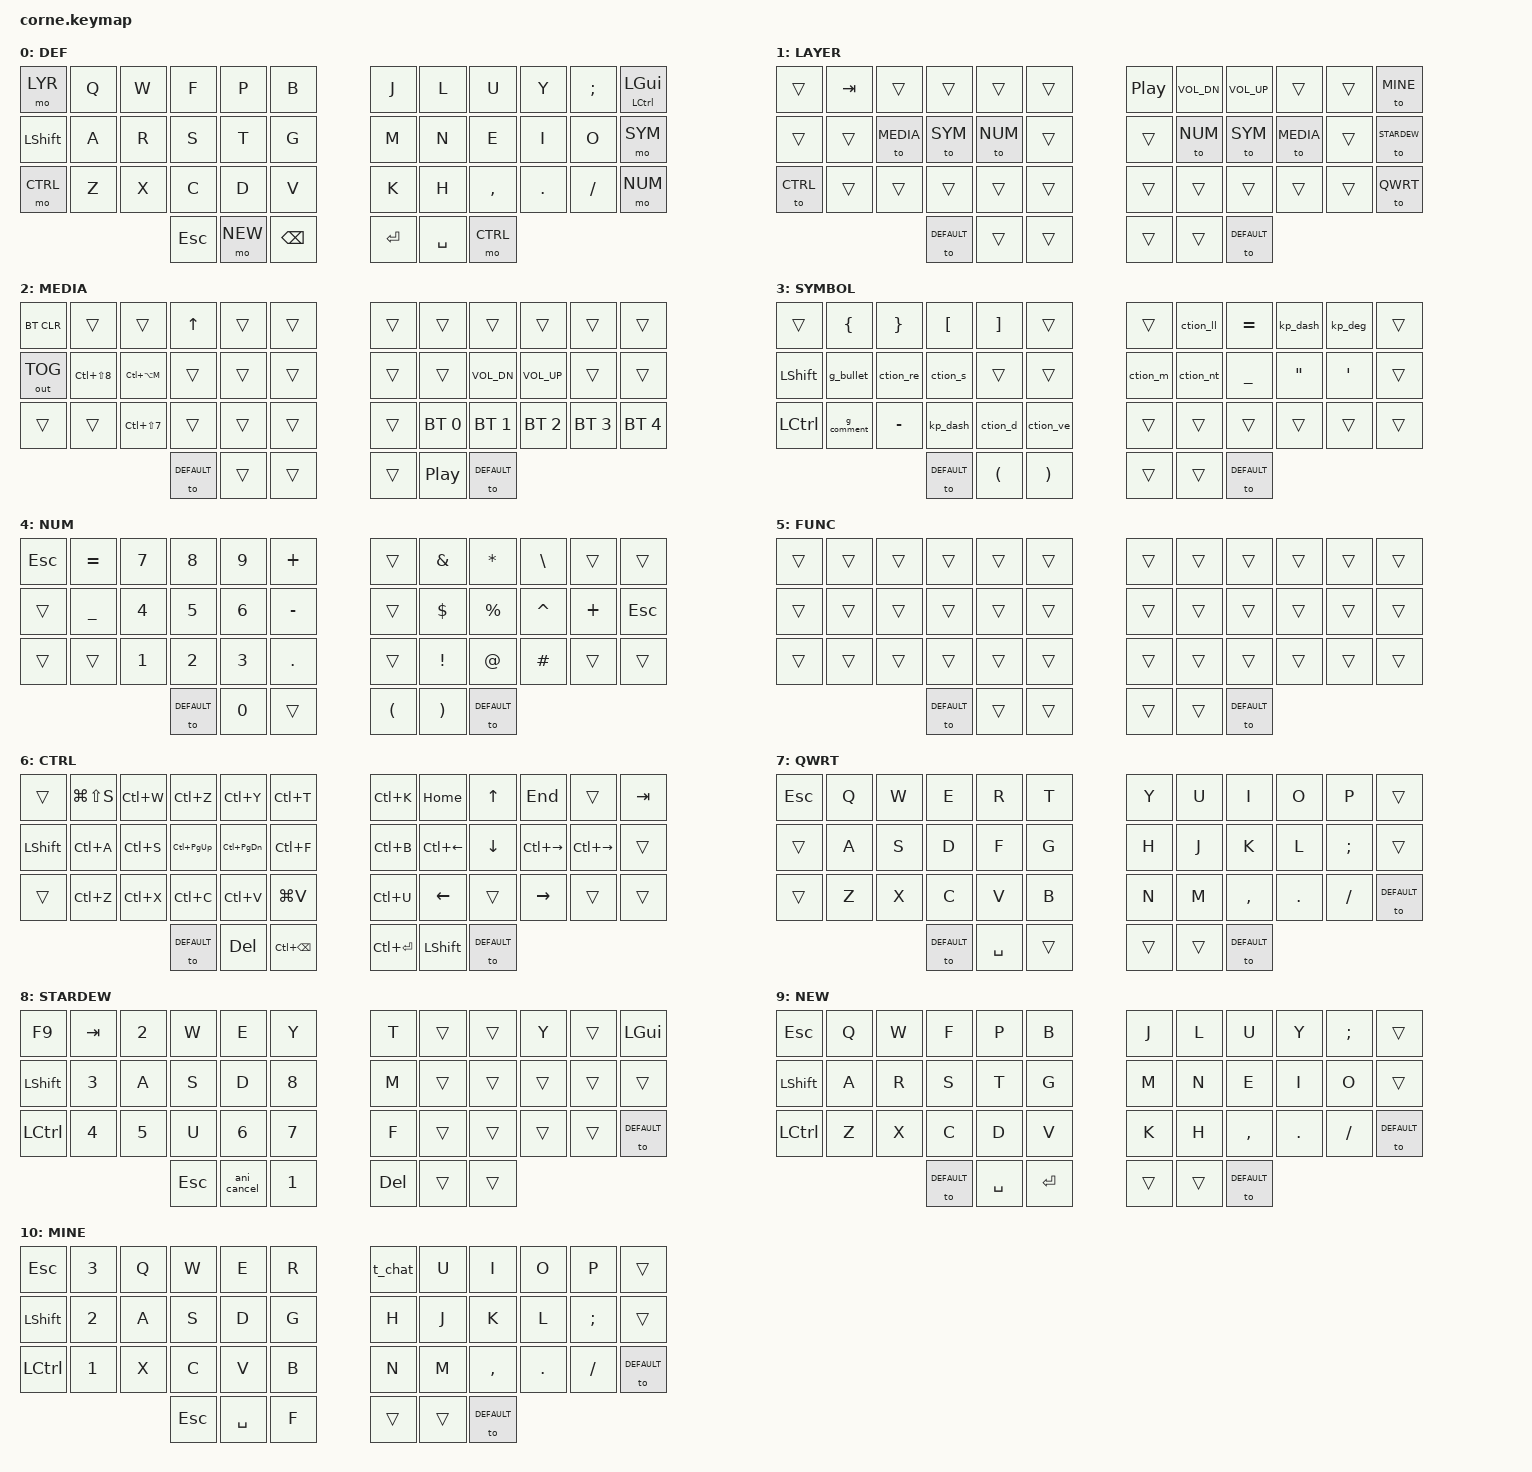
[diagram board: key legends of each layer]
/*
 * Copyright (c) 2020 The ZMK Contributors
 *
 * SPDX-License-Identifier: MIT
 */

#include <behaviors.dtsi>
#include <dt-bindings/zmk/keys.h>
#include <dt-bindings/zmk/bt.h>
#include <dt-bindings/zmk/outputs.h>

#define DEFAULT 0
#define LYR   1
#define MEDIA   2
#define SYM     3
#define NUM     4
#define FUNC    5
#define CTRL    6
#define QWRT   7
#define STARDEW 8
#define NEW 9
#define MINE 10



/ {
//    macros {
        kp_dash: kp_dash {
            label = "kp_dash";
            compatible = "zmk,behavior-macro";
            #binding-cells = <0>;
            bindings
                = <&macro_press &kp LALT>
                , <&macro_tap &kp KP_N0 &kp KP_N1 &kp KP_N5 &kp KP_N1>
                , <&macro_release &kp LALT>
                ;
        };
        kp_deg: kp_deg {
            label = "kp_deg";
            compatible = "zmk,behavior-macro";
            #binding-cells = <0>;
            bindings
                = <&macro_press &kp LALT>
                , <&macro_tap &kp KP_N0 &kp KP_N1 &kp KP_N7 &kp KP_N6>
                , <&macro_release &kp LALT>
                ;
        };
        altTab: altTab {
            label = "altTab";
            compatible = "zmk,behavior-macro";
            #binding-cells = <0>;
            bindings
                = <&macro_press &kp LALT>
                , <&macro_tap &kp TAB>
                , <&macro_release &kp LALT>
                ;
        };
        ani_cancel: ani_cancel {
            label = "ani_cancel";
            compatible = "zmk,behavior-macro";
            #binding-cells = <0>;
            bindings
                = <&macro_press &kp DEL &kp RSHFT>
                , <&macro_tap &kp R>
                , <&macro_release &kp DEL &kp RSHFT>
                ;
        };
        t_chat: t_chat {
            label = "t_chat";
            compatible = "zmk,behavior-macro";
            #binding-cells = <0>;
            bindings
                = <&macro_tap &to DEFAULT &kp T>
                ;
        };
        g_comment: g_comment {
            label = "g_comment";
            compatible = "zmk,behavior-macro";
            #binding-cells = <0>;
            bindings
                = <&macro_press &kp LCTRL &kp LALT>
                , <&macro_tap &kp M>
                , <&macro_release &kp LCTRL &kp LALT>
                ;
        };
        g_bullet: g_bullet {
            label = "g_bullet";
            compatible = "zmk,behavior-macro";
            #binding-cells = <0>;
            bindings
                = <&macro_press &kp LCTRL &kp LSHIFT>
                , <&macro_tap &kp N8>
                , <&macro_release &kp LCTRL &kp LSHIFT>
                ;
        };
        ction_ve: ction_ve {
            label = "ction_ve";
            compatible = "zmk,behavior-macro";
            #binding-cells = <0>;
            bindings
                = <&macro_tap &kp APOSTROPHE &kp V &kp E>
                ;
        };
        ction_nt: ction_nt {
            label = "ction_nt";
            compatible = "zmk,behavior-macro";
            #binding-cells = <0>;
            bindings
                = <&macro_tap &kp N &kp APOSTROPHE &kp T>
                ;
        };
        ction_ll: ction_ll {
            label = "ction_ll";
            compatible = "zmk,behavior-macro";
            #binding-cells = <0>;
            bindings
                = <&macro_tap &kp APOSTROPHE &kp L &kp L>
                ;
        };
        ction_s: ction_s {
            label = "ction_s";
            compatible = "zmk,behavior-macro";
            #binding-cells = <0>;
            bindings
                = <&macro_tap &kp APOSTROPHE &kp S>
                ;
        };
        ction_d: ction_d {
            label = "ction_d";
            compatible = "zmk,behavior-macro";
            #binding-cells = <0>;
            bindings
                = <&macro_tap &kp APOSTROPHE &kp D>
                ;
        };
        ction_m: ction_m {
            label = "ction_m";
            compatible = "zmk,behavior-macro";
            #binding-cells = <0>;
            bindings
                = <&macro_tap &kp APOSTROPHE &kp M>
                ;
        };
        ction_re: ction_re {
            label = "ction_re";
            compatible = "zmk,behavior-macro";
            #binding-cells = <0>;
            bindings
                = <&macro_tap &kp APOSTROPHE &kp R &kp E>
                ;
        };
//    };
//    combos {

//    };

// | 0 |  1  |  2  |  3  |  4  |  5  |   |  6  |  7   |  8  |  9 |  10  | 11 |
// | 12|  13 |  14  |  15  |  16  |  17  |   |  18  |  19   |  20  |  21  |  22  |  23   |
// | 24|  25  |  26  |  27  |  28  |  29  |   |  30  |  31   |  32  |  33  |  34  | 35
//  |36|37|38|   | 39 | 40 | 41 |

    behaviors {
        tdCTRLTAB: Control_Tab {
            compatible = "zmk,behavior-tap-dance";
            label = "Control_Tab";
            #binding-cells = <0>;
            tapping-term-ms = <200>;
            bindings = <&kp LCTRL>, <&kp LA(TAB)>;
        };
        tdCLMK_TAB: Colemak_Tab{
            compatible = "zmk,behavior-tap-dance";
            label = "Colemak_Tab";
            #binding-cells = <0>;
            tapping-term-ms = <200>;
            bindings = <&kp LA(TAB)>, <&to QWRT>;
        };
//        td_mytd: tap_dance_my {
//        compatible = "zmk,behavior-tap-dance";
//          label = "TAP_DANCE_MY;
//          #binding-cells = <0>;
//          tapping-term-ms = <200>;
//          bindings =
//          <&mt LSHFT SPACE>,
//          <&mo 2>;
//      };
    };

    keymap {
            compatible = "zmk,keymap";

            default_layer {
label = "DEF";
// -----------------------------------------------------------------------------------------
// | TAB  |  Q  |  W  |  E  |  R  |  T  |   |  Y  |  U   |  I  |  O  |  P  | LGUI |
// | SHFT |  A  |  S  |  D  |  F  |  G  |   |  H  |  J   |  K  |  L  |  ;  |  SYM   |
// | CRTL |  Z  |  X  |  C  |  V  |  B  |   |  N  |  M   |  ,  |  .  |  /  | NUM  |
//  |to Layer|Space|BSCP|   | ENTER | SPACE | to Layer |
                        bindings = <
   &mo LYR &kp Q &kp W &kp F &kp P &kp B   &kp J &kp L &kp U &kp Y &kp SEMI &mt LCTRL LGUI
   &kp LSHIFT &kp A &kp R &kp S &kp T &kp G   &kp M &kp N &kp E &kp I &kp O &mo SYM
   &mo CTRL &kp Z &kp X &kp C &kp D &kp V   &kp K &kp H &kp COMMA &kp DOT &kp FSLH &mo NUM
      &kp ESC &mo NEW &kp BSPC   &kp RET &kp SPACE &mo CTRL
                        >;
                };
                layer_layer {
label = "LAYER";
// -----------------------------------------------------------------------------------------
// |     |     |     |     |Ctrl/Shift/Alt keyboard|     |||||     |     |     |     |     |     |
// |     |     |     | SYM | NUM |     |||||     |     |     |     |     |     |
// |     |     |     |     |     |     |||||     |     |     |     |     |CLMK|
//                   |     |     |     |||||     |     |     |
                        bindings = <
 &trans &kp TAB &trans &trans &trans &trans   &kp C_PP &kp C_VOL_DN &kp C_VOL_UP &trans &trans &to MINE
 &trans &trans &to MEDIA &to SYM &to NUM &trans   &trans &to NUM &to SYM &to MEDIA &trans &to STARDEW
 &to CTRL &trans &trans &trans &trans &trans   &trans &trans &trans &trans &trans &to QWRT
                      &to DEFAULT &trans &trans   &trans &trans &to DEFAULT
                        >;
                };

            media_layer {
label = "MEDIA";
// -----------------------------------------------------------------------------------------
// |Clear|     |     |     |     |     |||||     |     |     |     |     |     |
// |Toggle|     |Comment|     |     |     |||||     | Play/Pause | VOL_DN | VOL_UP |Mute|     |
// |     |     |     |     |     |     |||||     | BT1 | BT2 | BT3 | BT4 | BT5 |
//                   |     |     |     |||||     | Play/Pause |     |
                        bindings = <
 &bt BT_CLR &trans &trans &kp UP &trans &trans   &trans &trans &trans &trans &trans &trans
 &out OUT_TOG  &kp LC(LS(8)) &kp LC(LA(M)) &trans &trans &trans   &trans &trans &kp C_VOL_DN &kp C_VOL_UP &trans  &trans
 &trans &trans &kp LC(LS(7)) &trans &trans &trans   &trans &bt BT_SEL 0 &bt BT_SEL 1 &bt BT_SEL 2 &bt BT_SEL 3 &bt BT_SEL 4
                      &to DEFAULT &trans &trans   &trans &kp C_PP &to DEFAULT
                        >;
                };



                sym_layer {
label = "SYMBOL";
// -----------------------------------------------------------------------------------------
// |     |     |     |  {  |  }  |     |||||     |     |     |     |     |     |
// |     |     |  `  |  [  |  ]  |  _  |||||     |     |     |     | ' |     |
// |     |     |     |  -  |  —  |     |||||     |     |     |     |     |     |
//                   |     |  (  |  )  |||||     |     |     |
                        bindings = <
 &trans &kp LBRC &kp RBRC &kp LBKT &kp RBKT &trans          &trans &ction_ll &kp EQUAL &kp_dash &kp_deg &trans
 &kp LSHIFT &g_bullet &ction_re &ction_s &trans &trans   &ction_m &ction_nt  &kp UNDER &kp DQT &kp APOS &trans
 &kp LCTRL  &g_comment &kp MINUS &kp_dash &ction_d &ction_ve    &trans &trans &trans &trans &trans &trans
                  &to DEFAULT &kp LPAR &kp RPAR            &trans &trans &to DEFAULT
                        >;
                };

                num_layer {
label = "NUM";
// -----------------------------------------------------------------------------------------
// |ESC|  =  |  7  |  8  |  9  |  +  |||||     |     |  &  |  *  |  \  |     |
// |     |  _  |  4  |  5  |  6  |  -  |||||     |     |  $  |  %  |  ^  |ESC|
// |SYM|     |  1  |  2  |  3  |  .  |||||     |     |  !  |  @  |  #  |     |
//                   |     |  0  |     |||||  (  |  )  |     |
                        bindings = <
 &kp ESC &kp EQUAL &kp N7 &kp N8 &kp N9 &kp PLUS   &trans &kp AMPS &kp ASTRK &kp BSLH &trans &trans
 &trans &kp UNDER &kp N4 &kp N5 &kp N6 &kp MINUS   &trans &kp DOLLAR &kp PERCENT &kp CARET &kp PLUS &kp ESC
 &trans &trans &kp N1 &kp N2 &kp N3 &kp DOT   &trans &kp EXCL &kp AT &kp HASH &trans &trans
                      &to DEFAULT &kp N0 &trans   &kp LPAR &kp RPAR &to DEFAULT
                        >;
                };

                func_layer {
label = "FUNC";
// -----------------------------------------------------------------------------------------
// |     |     |     |   |     |     |||||     |     |     |     |     |     |
// |     |     |     |     |     |     |||||     |     |     |     |     |     |
// |     |     |     |     |     |     |||||     |     |     |     |     |     |
//                   |     |     |     |||||     |     |     |
                        bindings = <
 &trans &trans &trans &trans &trans &trans   &trans &trans &trans &trans &trans &trans
 &trans &trans &trans &trans &trans &trans   &trans &trans &trans &trans &trans &trans
 &trans &trans &trans &trans &trans &trans   &trans &trans &trans &trans &trans &trans
                      &to DEFAULT &trans &trans   &trans &trans &to DEFAULT
                        >;
                };

                ctrl_layer {

label = "CTRL";
// -----------------------------------------------------------------------------------------
// |     |Screenshot|Ctrl W|undo?|redo|new tab   |||||Redo |Home     | Up |  End  |     |     |
// |Shift|Select all|Save|left tab|right tab|find|||||     |Ctrl Left|Down|Ctrl Right|     |     |
// |     |Undo|Cut|Copy|Paste|windows paste      |||||     |     |     |     |     |     |
//                               |return|     |     |||||     |shift|     |
                        bindings = <
 &trans &kp LG(LS(S)) &kp LC(W) &kp LC(Z) &kp LC(Y) &kp LC(T)         &kp LC(K) &kp HOME &kp UP &kp END &trans &kp TAB
 &kp LSHFT &kp LC(A) &kp LC(S) &kp LC(PG_UP) &kp LC(PG_DN) &kp LC(F)  &kp LC(B) &kp LC(LEFT) &kp DOWN &kp LC(RIGHT)  &kp LC(RIGHT) &trans
 &trans &kp LC(Z) &kp LC(X) &kp LC(C) &kp LC(V) &kp LG(V)             &kp LC(U) &kp LEFT &trans &kp RIGHT &trans &trans
                      &to DEFAULT &kp DEL &kp LC(BSPC)   &kp LC(RET) &kp LSHFT &to DEFAULT
                        >;
                };


                game_layer {
label = "QWRT";
// -----------------------------------------------------------------------------------------
// | ESC |  Q  |  W  |  F  |  P  |  B  |   |  J  |  L  |  U  |  Y  |  ;  |     |
// |     |  A  |  R  |  S  |  T  |  G  |   |  M  |  N  |  E  |  I  |  O  |     |
// |     |  Z  |  X  |  C  |  D  |  V  |   |  K  |  H  |  ,  |  .  |  /  |     |
//                   |     |     |     |   |     |     |     |
                        bindings = <
   &kp ESC &kp Q &kp W &kp E &kp R &kp T   &kp Y &kp U  &kp I     &kp O   &kp P &trans
   &trans &kp A &kp S &kp D &kp F &kp G   &kp H &kp J  &kp K     &kp L   &kp SEMI &trans
   &trans &kp Z &kp X &kp C &kp V &kp B   &kp N &kp M  &kp COMMA &kp DOT &kp FSLH &to DEFAULT
                   &to DEFAULT &kp SPACE &trans   &trans &trans &to DEFAULT
                        >;
                };

                stardew_layer {
label = "STARDEW";
// -----------------------------------------------------------------------------------------
// | F9  | TAB |  2  |  W  |  3  | DEL |   |  T  |     |     |  Y  |     |     |
// |LSHFT|  4  |  A  |  S  |  D  |  -  |   |  M  |     |     |     |     |     |
// |LCTRL|  5  |  6  |  7  |  8  |  9  |   |  K  |     |     |     |     |     |
//                   | ESC | ani |  1  |   |     |     |     |
                        bindings = <
   &kp F9    &kp TAB &kp N2 &kp W &kp E &kp Y     &kp T &trans &trans &kp Y &trans &kp LGUI
   &kp LSHFT &kp N3  &kp A  &kp S &kp D &kp N8    &kp M &trans &trans &trans &trans &trans
   &kp LCTRL &kp N4  &kp N5 &kp U &kp N6 &kp N7  &kp F &trans &trans &trans &trans &to DEFAULT
                   &kp ESC &ani_cancel &kp N1   &kp DEL &trans &trans
                        >;
                };

                new_layer {
label = "NEW";
// -----------------------------------------------------------------------------------------
// | ESC |  Q  |  W  |  F  |  P  |  B  |   |  J  |  L  |  U  |  Y  |  ;  |     |
// |     |  A  |  R  |  S  |  T  |  G  |   |  M  |  N  |  E  |  I  |  O  |     |
// |     |  Z  |  X  |  C  |  D  |  V  |   |  K  |  H  |  ,  |  .  |  /  |     |
//                   |     |     |     |   |     |     |     |
                        bindings = <
   &kp ESC   &kp Q &kp W &kp F &kp P &kp B   &kp J &kp L  &kp U      &kp Y  &kp SEMI &trans
   &kp LSHFT &kp A &kp R &kp S &kp T &kp G   &kp M &kp N  &kp E      &kp I   &kp O &trans
   &kp LCTRL &kp Z &kp X &kp C &kp D &kp V   &kp K &kp H  &kp COMMA  &kp DOT &kp FSLH &to DEFAULT
              &to DEFAULT &kp SPACE &kp RET   &trans &trans &to DEFAULT
                        >;
                };
                mine_layer {
label = "MINE";
// -----------------------------------------------------------------------------------------
// | ESC |  Q  |  W  |  F  |  P  |  B  |   |  J  |  L  |  U  |  Y  |  ;  |     |
// |     |  A  |  R  |  S  |  T  |  G  |   |  M  |  N  |  E  |  I  |  O  |     |
// |     |  Z  |  X  |  C  |  D  |  V  |   |  K  |  H  |  ,  |  .  |  /  |     |
//                   |     |     |     |   |     |     |     |
                        bindings = <
   &kp ESC &kp N3 &kp Q &kp W &kp E &kp R   &t_chat &kp U  &kp I     &kp O   &kp P &trans
   &kp LSHFT &kp N2 &kp A &kp S &kp D &kp G   &kp H &kp J  &kp K     &kp L   &kp SEMI &trans
   &kp LCTRL &kp N1 &kp X &kp C &kp V &kp B   &kp N &kp M  &kp COMMA &kp DOT &kp FSLH &to DEFAULT
                   &kp ESC &kp SPACE &kp F   &trans &trans &to DEFAULT
                        >;
                };
        };
};

//                nav_layer {
//label = "NAV";
// -----------------------------------------------------------------------------------------
// |     |     |     |     |     |     |||||     | Word left |     |     |     |End|
// |     |     |     |tab left|tab right|     |||||     | Left | Down | Up | Right |Home|
// |     |     |     |     |     |     |||||     | Highlight word left |     |     |     |     |
//                   |     |     |     |||||     |Copy (CTRL(C))|Paste (CTRL(V))|
//                        bindings = <
// &trans &trans &trans &trans &trans &trans          &trans &kp LC(LEFT) &kp LC(DOWN) &kp LC(UP) &kp LC(RIGHT) &kp END
// &trans &trans &trans &kp LC(PG_UP) &kp LC(PG_DN)   &trans   &trans &kp LEFT &kp DOWN &kp UP &kp RIGHT &kp HOME
// &trans &trans &trans &trans &trans &trans          &trans &kp LC(LS(LEFT)) &kp LC(LS(DOWN)) &kp LC(LS(UP)) &kp LC(LS(RIGHT)) &trans
//                      &to DEFAULT &trans &trans          &trans &trans &to DEFAULT
//                        >;
//                };
